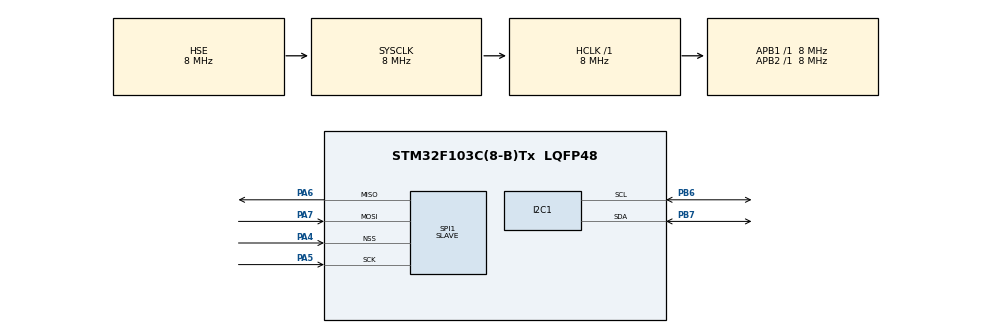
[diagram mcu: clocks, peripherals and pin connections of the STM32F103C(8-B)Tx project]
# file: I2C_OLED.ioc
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Mcu.Family=STM32F1
Mcu.Name=STM32F103C(8-B)Tx
Mcu.Package=LQFP48
NVIC.PriorityGroup=NVIC_PRIORITYGROUP_4
NVIC.SPI1_IRQn=true\:0\:0\:false\:false\:true\:true\:true\:true
PA13.Mode=Serial_Wire
PA13.Signal=SYS_JTMS-SWDIO
PA14.Mode=Serial_Wire
PA14.Signal=SYS_JTCK-SWCLK
PA4.Mode=NSS_Signal_Hard_Input
PA4.Signal=SPI1_NSS
PA5.Mode=Full_Duplex_Slave
PA5.Signal=SPI1_SCK
PA6.Mode=Full_Duplex_Slave
PA6.Signal=SPI1_MISO
PA7.Mode=Full_Duplex_Slave
PA7.Signal=SPI1_MOSI
PB6.Mode=I2C
PB6.Signal=I2C1_SCL
PB7.Mode=I2C
PB7.Signal=I2C1_SDA
PC14-OSC32_IN.Mode=LSE-External-Oscillator
PC14-OSC32_IN.Signal=RCC_OSC32_IN
PC15-OSC32_OUT.Mode=LSE-External-Oscillator
PC15-OSC32_OUT.Signal=RCC_OSC32_OUT
PD0-OSC_IN.Mode=HSE-External-Oscillator
PD0-OSC_IN.Signal=RCC_OSC_IN
PD1-OSC_OUT.Mode=HSE-External-Oscillator
PD1-OSC_OUT.Signal=RCC_OSC_OUT
ProjectManager.HeapSize=0x200
ProjectManager.StackSize=0x400
ProjectManager.TargetToolchain=MDK-ARM V5.32
RCC.AHBFreq_Value=8000000
RCC.APB1Freq_Value=8000000
RCC.APB1TimFreq_Value=8000000
RCC.APB2Freq_Value=8000000
RCC.APB2TimFreq_Value=8000000
RCC.HCLKFreq_Value=8000000
RCC.SYSCLKFreq_VALUE=8000000
RCC.SYSCLKSource=RCC_SYSCLKSOURCE_HSE
RCC.USBFreq_Value=8000000
SPI1.Direction=SPI_DIRECTION_2LINES
SPI1.Mode=SPI_MODE_SLAVE
SPI1.VirtualNSS=VM_NSSHARD
SPI1.VirtualType=VM_SLAVE
board=custom

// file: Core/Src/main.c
/* USER CODE BEGIN Header */
/**
  ******************************************************************************
  * @file           : main.c
  * @brief          : Main program body
  ******************************************************************************
  * @attention
  *
  * Copyright (c) 2023 STMicroelectronics.
  * All rights reserved.
  *
  * This software is licensed under terms that can be found in the LICENSE file
  * in the root directory of this software component.
  * If no LICENSE file comes with this software, it is provided AS-IS.
  *
  ******************************************************************************
  */
/* USER CODE END Header */
#include "main.h"
#include <string.h>
#define WIDTH 128
#define HEIGHT 64
#define WIRE_MAX 32
#define size_x 8
#define size_y 10
#define TW_START 0x08 // start
#define  TW_REP_START  0x10    // repeat start
#define  TW_MT_SLA_ACK 0x18   // truyen slave addr de ghi co ack
#define  TW_MT_SLA_NACK 0x20 //  truyen slave addr de ghi  ko co ack
#define  TW_MR_SLA_ACK 0x40   // truyen slave addr de doc co ack
#define  TW_MT_DATA_ACK 0x28 // gui dl co ack
#define  TW_MT_DATA_NACK 0x30  // nhan dl khong co ack
#define SSD1306_COLUMNADDR          0x21 ///< See datasheet
#define SSD1306_PAGEADDR            0x22        ///< See datasheet
#define BUFF_SIZE WIDTH*HEIGHT/8

#define addr_oled 0x78
#define MESS_SIZE 32

I2C_HandleTypeDef hi2c1;

SPI_HandleTypeDef hspi1;

void SystemClock_Config(void);
static void MX_GPIO_Init(void);
static void MX_I2C1_Init(void);
static void MX_SPI1_Init(void);
/* USER CODE BEGIN PFP */
unsigned char buffer[BUFF_SIZE]; //
unsigned char buff[3];
unsigned char buff1[WIRE_MAX];
// rong 128 dai 64
const uint8_t Fonts_10x7 [] = {
0x00, 0x00, 0x00, 0x00, 0x00, 0x00, 0x00, 0x00, 0x00, 0x00,  // sp
0x10, 0x10, 0x10, 0x10, 0x10, 0x10, 0x00, 0x10, 0x00, 0x00,  // !
0x28, 0x28, 0x28, 0x00, 0x00, 0x00, 0x00, 0x00, 0x00, 0x00,  // "
0x24, 0x24, 0x7C, 0x24, 0x48, 0x7C, 0x48, 0x48, 0x00, 0x00,  // #
0x38, 0x54, 0x50, 0x38, 0x14, 0x54, 0x54, 0x38, 0x10, 0x00,  // $
0x20, 0x54, 0x58, 0x30, 0x28, 0x54, 0x14, 0x08, 0x00, 0x00,  // %
0x10, 0x28, 0x28, 0x10, 0x34, 0x48, 0x48, 0x34, 0x00, 0x00,  // &
0x10, 0x10, 0x10, 0x00, 0x00, 0x00, 0x00, 0x00, 0x00, 0x00,  // '
0x08, 0x10, 0x20, 0x20, 0x20, 0x20, 0x20, 0x20, 0x10, 0x08,  // (
0x20, 0x10, 0x08, 0x08, 0x08, 0x08, 0x08, 0x08, 0x10, 0x20,  // )
0x10, 0x38, 0x10, 0x28, 0x00, 0x00, 0x00, 0x00, 0x00, 0x00,  // *
0x00, 0x00, 0x10, 0x10, 0x7C, 0x10, 0x10, 0x00, 0x00, 0x00,  // +
0x00, 0x00, 0x00, 0x00, 0x00, 0x00, 0x00, 0x10, 0x10, 0x10,  // ,
0x00, 0x00, 0x00, 0x00, 0x00, 0x38, 0x00, 0x00, 0x00, 0x00,  // -
0x00, 0x00, 0x00, 0x00, 0x00, 0x00, 0x00, 0x10, 0x00, 0x00,  // .
0x08, 0x08, 0x10, 0x10, 0x10, 0x10, 0x20, 0x20, 0x00, 0x00,  // /
0x38, 0x44, 0x44, 0x54, 0x44, 0x44, 0x44, 0x38, 0x00, 0x00,  // 0
0x10, 0x30, 0x50, 0x10, 0x10, 0x10, 0x10, 0x10, 0x00, 0x00,  // 1
0x38, 0x44, 0x44, 0x04, 0x08, 0x10, 0x20, 0x7C, 0x00, 0x00,  // 2
0x38, 0x44, 0x04, 0x18, 0x04, 0x04, 0x44, 0x38, 0x00, 0x00,  // 3
0x08, 0x18, 0x28, 0x28, 0x48, 0x7C, 0x08, 0x08, 0x00, 0x00,  // 4
0x7C, 0x40, 0x40, 0x78, 0x04, 0x04, 0x44, 0x38, 0x00, 0x00,  // 5
0x38, 0x44, 0x40, 0x78, 0x44, 0x44, 0x44, 0x38, 0x00, 0x00,  // 6
0x7C, 0x04, 0x08, 0x10, 0x10, 0x20, 0x20, 0x20, 0x00, 0x00,  // 7
0x38, 0x44, 0x44, 0x38, 0x44, 0x44, 0x44, 0x38, 0x00, 0x00,  // 8
0x38, 0x44, 0x44, 0x44, 0x3C, 0x04, 0x44, 0x38, 0x00, 0x00,  // 9
0x00, 0x00, 0x10, 0x00, 0x00, 0x00, 0x00, 0x10, 0x00, 0x00,  // :
0x00, 0x00, 0x00, 0x10, 0x00, 0x00, 0x00, 0x10, 0x10, 0x10,  // ;
0x00, 0x00, 0x0C, 0x30, 0x40, 0x30, 0x0C, 0x00, 0x00, 0x00,  // <
0x00, 0x00, 0x00, 0x7C, 0x00, 0x7C, 0x00, 0x00, 0x00, 0x00,  // =
0x00, 0x00, 0x60, 0x18, 0x04, 0x18, 0x60, 0x00, 0x00, 0x00,  // >
0x38, 0x44, 0x04, 0x08, 0x10, 0x10, 0x00, 0x10, 0x00, 0x00,  // ?
0x38, 0x44, 0x4C, 0x54, 0x5C, 0x40, 0x40, 0x38, 0x00, 0x00,  // @
0x10, 0x28, 0x28, 0x28, 0x28, 0x7C, 0x44, 0x44, 0x00, 0x00,  // A
0x78, 0x44, 0x44, 0x78, 0x44, 0x44, 0x44, 0x78, 0x00, 0x00,  // B
0x38, 0x44, 0x40, 0x40, 0x40, 0x40, 0x44, 0x38, 0x00, 0x00,  // C
0x70, 0x48, 0x44, 0x44, 0x44, 0x44, 0x48, 0x70, 0x00, 0x00,  // D
0x7C, 0x40, 0x40, 0x7C, 0x40, 0x40, 0x40, 0x7C, 0x00, 0x00,  // E
0x7C, 0x40, 0x40, 0x78, 0x40, 0x40, 0x40, 0x40, 0x00, 0x00,  // F
0x38, 0x44, 0x40, 0x40, 0x5C, 0x44, 0x44, 0x38, 0x00, 0x00,  // G
0x44, 0x44, 0x44, 0x7C, 0x44, 0x44, 0x44, 0x44, 0x00, 0x00,  // H
0x38, 0x10, 0x10, 0x10, 0x10, 0x10, 0x10, 0x38, 0x00, 0x00,  // I
0x04, 0x04, 0x04, 0x04, 0x04, 0x04, 0x44, 0x38, 0x00, 0x00,  // J
0x44, 0x48, 0x50, 0x60, 0x50, 0x48, 0x48, 0x44, 0x00, 0x00,  // K
0x40, 0x40, 0x40, 0x40, 0x40, 0x40, 0x40, 0x7C, 0x00, 0x00,  // L
0x44, 0x6C, 0x6C, 0x54, 0x44, 0x44, 0x44, 0x44, 0x00, 0x00,  // M
0x44, 0x64, 0x64, 0x54, 0x54, 0x4C, 0x4C, 0x44, 0x00, 0x00,  // N
0x38, 0x44, 0x44, 0x44, 0x44, 0x44, 0x44, 0x38, 0x00, 0x00,  // O
0x78, 0x44, 0x44, 0x44, 0x78, 0x40, 0x40, 0x40, 0x00, 0x00,  // P
0x38, 0x44, 0x44, 0x44, 0x44, 0x44, 0x54, 0x38, 0x04, 0x00,  // Q
0x78, 0x44, 0x44, 0x44, 0x78, 0x48, 0x48, 0x44, 0x00, 0x00,  // R
0x38, 0x44, 0x40, 0x30, 0x08, 0x04, 0x44, 0x38, 0x00, 0x00,  // S
0x7C, 0x10, 0x10, 0x10, 0x10, 0x10, 0x10, 0x10, 0x00, 0x00,  // T
0x44, 0x44, 0x44, 0x44, 0x44, 0x44, 0x44, 0x38, 0x00, 0x00,  // U
0x44, 0x44, 0x44, 0x28, 0x28, 0x28, 0x10, 0x10, 0x00, 0x00,  // V
0x44, 0x44, 0x54, 0x54, 0x54, 0x6C, 0x28, 0x28, 0x00, 0x00,  // W
0x44, 0x28, 0x28, 0x10, 0x10, 0x28, 0x28, 0x44, 0x00, 0x00,  // X
0x44, 0x44, 0x28, 0x28, 0x10, 0x10, 0x10, 0x10, 0x00, 0x00,  // Y
0x7C, 0x04, 0x08, 0x10, 0x10, 0x20, 0x40, 0x7C, 0x00, 0x00,  // Z
0x18, 0x10, 0x10, 0x10, 0x10, 0x10, 0x10, 0x10, 0x10, 0x18,  // [
0x20, 0x20, 0x10, 0x10, 0x10, 0x10, 0x08, 0x08, 0x00, 0x00,  /* \ */
0x30, 0x10, 0x10, 0x10, 0x10, 0x10, 0x10, 0x10, 0x10, 0x30,  // ]
0x10, 0x28, 0x28, 0x44, 0x00, 0x00, 0x00, 0x00, 0x00, 0x00,  // ^
0x00, 0x00, 0x00, 0x00, 0x00, 0x00, 0x00, 0x00, 0x00, 0xFE,  // _
0x20, 0x10, 0x00, 0x00, 0x00, 0x00, 0x00, 0x00, 0x00, 0x00,  // `
0x00, 0x00, 0x38, 0x44, 0x3C, 0x44, 0x4C, 0x34, 0x00, 0x00,  // a
0x40, 0x40, 0x58, 0x64, 0x44, 0x44, 0x64, 0x58, 0x00, 0x00,  // b
0x00, 0x00, 0x38, 0x44, 0x40, 0x40, 0x44, 0x38, 0x00, 0x00,  // c
0x04, 0x04, 0x34, 0x4C, 0x44, 0x44, 0x4C, 0x34, 0x00, 0x00,  // d
0x00, 0x00, 0x38, 0x44, 0x7C, 0x40, 0x44, 0x38, 0x00, 0x00,  // e
0x0C, 0x10, 0x7C, 0x10, 0x10, 0x10, 0x10, 0x10, 0x00, 0x00,  // f
0x00, 0x00, 0x34, 0x4C, 0x44, 0x44, 0x4C, 0x34, 0x04, 0x78,  // g
0x40, 0x40, 0x58, 0x64, 0x44, 0x44, 0x44, 0x44, 0x00, 0x00,  // h
0x10, 0x00, 0x70, 0x10, 0x10, 0x10, 0x10, 0x10, 0x00, 0x00,  // i
0x10, 0x00, 0x70, 0x10, 0x10, 0x10, 0x10, 0x10, 0x10, 0xE0,  // j
0x40, 0x40, 0x48, 0x50, 0x60, 0x50, 0x48, 0x44, 0x00, 0x00,  // k
0x70, 0x10, 0x10, 0x10, 0x10, 0x10, 0x10, 0x10, 0x00, 0x00,  // l
0x00, 0x00, 0x78, 0x54, 0x54, 0x54, 0x54, 0x54, 0x00, 0x00,  // m
0x00, 0x00, 0x58, 0x64, 0x44, 0x44, 0x44, 0x44, 0x00, 0x00,  // n
0x00, 0x00, 0x38, 0x44, 0x44, 0x44, 0x44, 0x38, 0x00, 0x00,  // o
0x00, 0x00, 0x58, 0x64, 0x44, 0x44, 0x64, 0x58, 0x40, 0x40,  // p
0x00, 0x00, 0x34, 0x4C, 0x44, 0x44, 0x4C, 0x34, 0x04, 0x04,  // q
0x00, 0x00, 0x58, 0x64, 0x40, 0x40, 0x40, 0x40, 0x00, 0x00,  // r
0x00, 0x00, 0x38, 0x44, 0x30, 0x08, 0x44, 0x38, 0x00, 0x00,  // s
0x20, 0x20, 0x78, 0x20, 0x20, 0x20, 0x20, 0x18, 0x00, 0x00,  // t
0x00, 0x00, 0x44, 0x44, 0x44, 0x44, 0x4C, 0x34, 0x00, 0x00,  // u
0x00, 0x00, 0x44, 0x44, 0x28, 0x28, 0x28, 0x10, 0x00, 0x00,  // v
0x00, 0x00, 0x54, 0x54, 0x54, 0x6C, 0x28, 0x28, 0x00, 0x00,  // w
0x00, 0x00, 0x44, 0x28, 0x10, 0x10, 0x28, 0x44, 0x00, 0x00,  // x
0x00, 0x00, 0x44, 0x44, 0x28, 0x28, 0x10, 0x10, 0x10, 0x60,  // y
0x00, 0x00, 0x7C, 0x08, 0x10, 0x20, 0x40, 0x7C, 0x00, 0x00,  // z
0x18, 0x10, 0x10, 0x10, 0x20, 0x20, 0x10, 0x10, 0x10, 0x18,  // {
0x10, 0x10, 0x10, 0x10, 0x10, 0x10, 0x10, 0x10, 0x10, 0x10,  // |
0x30, 0x10, 0x10, 0x10, 0x08, 0x08, 0x10, 0x10, 0x10, 0x30,  // }
0x00, 0x00, 0x00, 0x74, 0x4C, 0x00, 0x00, 0x00, 0x00, 0x00,  // ~
};

/* USER CODE END PFP */

/* USER CODE BEGIN 0 */

uint8_t logo_bmp[] =
{ 0x00,0x00,0x00,0x00,0x00,0x00,
  0x00,0x00,0x1f,0xff,0xff,0xf0,
  0x00,0x00,0x3f,0xff,0xff,0xf0,
  0x00,0x00,0x3f,0xff,0xff,0xf0,
  0x00,0x00,0x3f,0xff,0xff,0xf0,
  0x00,0x00,0x3e,0x6f,0xe4,0xf0,
  0x00,0x00,0x3e,0xa7,0x20,0xf0,
  0x00,0x40,0x3e,0x0b,0x21,0xf0,
  0x01,0xf0,0x3e,0x83,0x20,0xf0,
  0x00,0xe0,0x3e,0x53,0x64,0xf0,
  0x00,0xe0,0x3f,0xff,0xff,0xf0,
  0x00,0x00,0x3f,0xff,0xff,0xf0,
  0x00,0x00,0x3f,0xff,0xff,0xf0,
  0x00,0x00,0x3f,0xff,0xef,0xf0,
  0x00,0x00,0x3f,0xfc,0xff,0xf0,
  0x00,0x00,0x3f,0xff,0x5f,0xf0,
  0x00,0x00,0x3f,0xef,0xbf,0xf0,
  0x00,0x00,0x3f,0xff,0xbf,0xf0,
  0x00,0x00,0x3f,0x73,0xef,0xf0,
  0x00,0x00,0x3d,0xdb,0xff,0xf0,
  0x00,0x00,0x3b,0x7e,0xff,0xf0,
  0x00,0x00,0x0d,0xfd,0xff,0xf0,
  0x00,0x00,0x1b,0xef,0xff,0xf0,
  0x00,0x00,0x6f,0xfb,0xff,0xf0,
  0x00,0x00,0xbf,0xdf,0xff,0xf0,
  0x00,0x00,0x3f,0xff,0xff,0xf0,
  0x00,0x00,0x3f,0xaf,0xff,0xf0,
  0x00,0x00,0x3f,0xff,0xff,0xf0,
  0x00,0x00,0x3f,0x5f,0xff,0xf0,
  0x00,0x00,0x3f,0xbf,0xff,0xf0,
  0x00,0x00,0x3e,0xff,0xff,0xf0,
  0x00,0x00,0xef,0xef,0xff,0xf0,
  0x00,0x00,0xfc,0xff,0xff,0xf0,
  0x00,0x01,0x3f,0xff,0xff,0xf0,
  0x00,0x14,0x39,0xff,0xff,0xf0,
  0x00,0x18,0x3b,0xff,0xff,0xf0,
  0x00,0x30,0x37,0xff,0xff,0xf0,
  0x00,0x10,0x37,0xff,0xff,0xf0,
  0x00,0x00,0x2f,0xff,0xff,0xf0,
  0x00,0x00,0x0f,0xff,0xff,0xf0,
  0x00,0x00,0x1f,0xff,0xff,0xf0,
  0x00,0x00,0x3f,0xff,0xff,0xf0,
  0x00,0x10,0x3f,0xff,0xff,0xf0,
  0x00,0x30,0x3f,0xff,0xff,0xf0,
  0x00,0x38,0x3f,0xff,0xff,0xf0,
  0x00,0x18,0x3f,0xff,0xff,0xf0,
  0x00,0x00,0x3f,0xff,0xff,0xf0,
  0x00,0x01,0x3f,0xff,0xff,0xf0,
  0x00,0x00,0xef,0xff,0xff,0xf0,
  0x00,0x00,0xef,0xff,0xff,0xf0,
  0x00,0x00,0x3f,0xff,0xff,0xf0,
  0x00,0x00,0x3f,0xff,0xff,0xf0,
  0x00,0x00,0x3f,0xff,0xff,0xf0,
  0x00,0x00,0x1f,0xff,0xff,0xf0,
  0x3f,0xff,0xdf,0xff,0xff,0xf0,
  0x3f,0xdf,0xff,0xff,0xff,0xf0,
  0x3f,0xdf,0xff,0xff,0xff,0xf0,
  0x30,0x88,0x13,0x02,0x04,0x70,
  0x30,0x88,0x13,0x02,0x04,0x70,
  0x30,0x89,0x03,0x10,0x04,0x70,
  0x30,0x89,0x83,0x10,0x04,0x70,
  0x30,0x00,0x13,0x02,0x00,0x30,
  0x30,0x20,0x13,0x02,0x01,0x30,
  0x3b,0xac,0xb7,0xea,0xcf,0x70,
  0x3f,0xff,0xff,0xff,0xff,0xf0,
  0x3f,0xff,0xff,0xff,0xff,0xf0,
  0x00,0x00,0x00,0x00,0x00,0x00,

};

void initBuff(){
     memset(buffer,0,BUFF_SIZE);
	 memset(buff,0,3);
	 memset(buff1,0,WIRE_MAX);
}

void write_cmd1(uint8_t c ){
	memset(buff,0,3);
	  buff[0]= 0x00;
	  buff[1] = c;
    HAL_I2C_Master_Transmit(&hi2c1,addr_oled,buff,2,100 );
}

void cmd_list(unsigned char*c, int n){

      unsigned char  bytesOut = 1;
     	memset(buff1,0,WIRE_MAX);

       while(n--) {
        if(bytesOut >= WIRE_MAX) {
					HAL_I2C_Master_Transmit(&hi2c1,addr_oled,buff1,WIRE_MAX,1000 );
         	memset(buff1,0,WIRE_MAX);
          bytesOut = 1;
        }
      buff1[bytesOut] = *c++;
      bytesOut++;
    }
     if(bytesOut>0){
			 HAL_I2C_Master_Transmit(&hi2c1,addr_oled,buff1,bytesOut,1000 );
		 }
}

void initDisplay()
{
    write_cmd1(0xAE);          // 0xAE // display off
    write_cmd1(0xD5);          // 0xD5 // set display clock division
    write_cmd1(0x80);          // the suggested ratio 0x80
    write_cmd1(0xA8);          // 0xA8 set multiplex
    write_cmd1(63);            // set height
    write_cmd1(0xD3);          // set display offset
    write_cmd1(0x00);           // no offset
    write_cmd1(0x40);            // line #0 setstartline
    write_cmd1(0x8D);          // 0x8D // chargepump
    write_cmd1(0x14);          //?? 0x10
    write_cmd1(0x20);          // memory mode
    write_cmd1(0x00);          // 0x0 act like ks0108
    write_cmd1(0xA1);           // segremap
    write_cmd1(0xC8);          // comscandec
    write_cmd1(0xDA);          // 0xDA set com pins
    write_cmd1(0x12);
    write_cmd1(0x81);          // 0x81 // set contract
    write_cmd1(0xCF);          //??  0x9F
    write_cmd1(0xD9);          // 0xd9 set pre-charge
    write_cmd1(0xF1);         //0x22
    write_cmd1(0xDB);          // SSD1306_SETVCOMDETECT
    write_cmd1(0x40);
    write_cmd1(0xA4);          // 0xA4 // display all on resume
    write_cmd1(0xA6);          // 0xA6 // normal display
    write_cmd1(0x2E);          // deactivate scroll
    write_cmd1(0xAF);          // --turn on oled panel
}

void display()
{

	  int  count = WIDTH * (HEIGHT / 8);
    uint8_t *ptr   = buffer;
    unsigned char bytesOut = 1;
	  unsigned char dlist1[] = {
     SSD1306_PAGEADDR,
     0,                         // Page start address
     0xFF,                      // Page end (not really, but works here)
     SSD1306_COLUMNADDR,
     0 };
	// Column start address
	  cmd_list(dlist1, sizeof(dlist1));
	  write_cmd1(WIDTH - 1);
		memset(buff1,0,WIRE_MAX);
		buff1[0] = 0x40;
		while(count--) {
      if(bytesOut >= WIRE_MAX) {
				HAL_I2C_Master_Transmit(&hi2c1,addr_oled,buff1,WIRE_MAX,1000 );
				memset(buff1,0,WIRE_MAX);
				 buff1[0] = 0x40;
        bytesOut = 1;
      }
			 buff1[bytesOut] =*ptr++ ;
       bytesOut++;
    }
		 if(bytesOut>0){
			 	HAL_I2C_Master_Transmit(&hi2c1,addr_oled,buff1,bytesOut,1000 );
		 }
}

void clear(){
   memset(buffer,0,BUFF_SIZE);
    display();
}

void drawpixel(int x, int y ){// draw hang y cot x

  if((x >= 0) && (x <WIDTH) && (y >= 0) && (y < HEIGHT)) {
    buffer[x + (y/8)*WIDTH] |=  (1 << (y&7)); //
   }
}

void drawBitmap(int x, int y, unsigned char bitmap[], int w, int  h) {

   int i, j;
   int byteWidth= (w+7)/8;
   int  byte = 0;
  for ( j = 0; j < h; j++) {
    for ( i = 0; i < w; i++) {

          if (i & 7)// 8 bit 1
          byte <<= 1;
          else
          byte = bitmap[j * byteWidth + i / 8];
         if(byte & 0x80){
            drawpixel(x + i,y+j);
         }
    }
  }
}

void drawImage(unsigned char bitmap[],int  LOGO_HEIGHT,int  LOGO_WIDTH){

    drawBitmap(
    (WIDTH  - LOGO_WIDTH ) / 2,
    (HEIGHT - LOGO_HEIGHT) / 2,
    bitmap, LOGO_WIDTH, LOGO_HEIGHT);
}

void drawChar(int16_t x, int16_t y, unsigned char c) {

    if ((x >= WIDTH) || x<0||             // Clip right
        (y >= HEIGHT) ||     y<0||        // Clip bottom
        ((x +  size_x - WIDTH- 1) > 0) ||   // Clip left
        ((y +  size_y - HEIGHT- 1) > 0)  ||  // Clip top
		     c<32   || c>126)            // not character
      return;
    int16_t t  = (c-32)*10;
    for (int8_t i = 0; i < 10; i++) {
      int8_t cha = Fonts_10x7[i+t];
      for (int8_t j = 0; j < 8; j++) {
        if(cha&0x80){
					drawpixel(x+j,y+i);
				}
				cha<<=1;
        //  0x1000
    }
   }
}

void drawChars(uint8_t *x, uint8_t *y,char mess){
     //   char c ;
//        if (*x<0||  (*x >= WIDTH))  {*x =0; clear(); }
//        if( *y>=HEIGHT) {*y =0; clear(); }
        if(*x +  size_x >= WIDTH){
           if((*y +  size_y >= HEIGHT)){
              *x=0;
             *y=0;
             clear();
           }
           else{
              *y+= size_y;
              *x =0;
           }
        }
         drawChar( *x,  *y,   mess);
        *x+=size_x;
}

/* USER CODE END 0 */

unsigned char rxData[MESS_SIZE];
uint8_t tx;
uint8_t rx;
uint8_t in=0;
uint8_t curx;
uint8_t cury;
volatile uint8_t cnt =0;
volatile uint8_t clr =0;
volatile  uint8_t flag = 0;
void clean(){
  clear();
  memset(rxData,0,MESS_SIZE);
  curx = cury =0;
  cnt =0;
  in =0;
}

void HAL_SPI_RxCpltCallback(SPI_HandleTypeDef *hspi)
{
  if(tx =='*')clr =1;
  else
    rxData[cnt++] = tx;

   // HAL_UART_Transmit(&huart1, &tx, 1,200);
    if(cnt>=MESS_SIZE){
      cnt =0;
    }
  HAL_SPI_Receive_IT(&hspi1,&rx,1);
    flag = 1;
}
int main(void)
{

  /* MCU Configuration--------------------------------------------------------*/

  /* Reset of all peripherals, Initializes the Flash interface and the Systick. */
  HAL_Init();

  /* Configure the system clock */
  SystemClock_Config();

  /* Initialize all configured peripherals */
  MX_GPIO_Init();
  MX_I2C1_Init();
  MX_SPI1_Init();
  /* USER CODE BEGIN 2 */
HAL_SPI_Receive_IT(&hspi1,&rx,1);
  /* USER CODE END 2 */
initBuff();
  initDisplay();
  drawImage(logo_bmp,67,45);
  display();
  /* Infinite loop */
  while (1)
  {
if(flag ==1){
 if(clr){ clean();
 clr =0;
 }
  HAL_GPIO_TogglePin(GPIOC, GPIO_PIN_13);
	//drawChar(5,5,rx);
  while(in!=cnt){
  drawChars(&curx,&cury,rxData[in]);

  in++;
  if(in>=MESS_SIZE) in =0;
    display();
  }
  flag =0;
}
  }
}

void SystemClock_Config(void)
{
  RCC_OscInitTypeDef RCC_OscInitStruct = {0};
  RCC_ClkInitTypeDef RCC_ClkInitStruct = {0};

  /** Initializes the RCC Oscillators according to the specified parameters
  * in the RCC_OscInitTypeDef structure.
  */
  RCC_OscInitStruct.OscillatorType = RCC_OSCILLATORTYPE_HSE;
  RCC_OscInitStruct.HSEState = RCC_HSE_ON;
  RCC_OscInitStruct.PLL.PLLState = RCC_PLL_NONE;
  if (HAL_RCC_OscConfig(&RCC_OscInitStruct) != HAL_OK)
  {
    Error_Handler();
  }

  /** Initializes the CPU, AHB and APB buses clocks
  */
  RCC_ClkInitStruct.ClockType = RCC_CLOCKTYPE_HCLK|RCC_CLOCKTYPE_SYSCLK
                              |RCC_CLOCKTYPE_PCLK1|RCC_CLOCKTYPE_PCLK2;
  RCC_ClkInitStruct.SYSCLKSource = RCC_SYSCLKSOURCE_HSE;
  RCC_ClkInitStruct.AHBCLKDivider = RCC_SYSCLK_DIV1;
  RCC_ClkInitStruct.APB1CLKDivider = RCC_HCLK_DIV1;
  RCC_ClkInitStruct.APB2CLKDivider = RCC_HCLK_DIV1;

  if (HAL_RCC_ClockConfig(&RCC_ClkInitStruct, FLASH_LATENCY_0) != HAL_OK)
  {
    Error_Handler();
  }
}

static void MX_I2C1_Init(void)
{

  hi2c1.Instance = I2C1;
  hi2c1.Init.ClockSpeed = 100000;
  hi2c1.Init.DutyCycle = I2C_DUTYCYCLE_2;
  hi2c1.Init.OwnAddress1 = 0;
  hi2c1.Init.AddressingMode = I2C_ADDRESSINGMODE_7BIT;
  hi2c1.Init.DualAddressMode = I2C_DUALADDRESS_DISABLE;
  hi2c1.Init.OwnAddress2 = 0;
  hi2c1.Init.GeneralCallMode = I2C_GENERALCALL_DISABLE;
  hi2c1.Init.NoStretchMode = I2C_NOSTRETCH_DISABLE;
  if (HAL_I2C_Init(&hi2c1) != HAL_OK)
  {
    Error_Handler();
  }

}

static void MX_SPI1_Init(void)
{

  /* SPI1 parameter configuration*/
  hspi1.Instance = SPI1;
  hspi1.Init.Mode = SPI_MODE_SLAVE;
  hspi1.Init.Direction = SPI_DIRECTION_2LINES;
  hspi1.Init.DataSize = SPI_DATASIZE_8BIT;
  hspi1.Init.CLKPolarity = SPI_POLARITY_LOW;
  hspi1.Init.CLKPhase = SPI_PHASE_1EDGE;
  hspi1.Init.NSS = SPI_NSS_HARD_INPUT;
  hspi1.Init.FirstBit = SPI_FIRSTBIT_MSB;
  hspi1.Init.TIMode = SPI_TIMODE_DISABLE;
  hspi1.Init.CRCCalculation = SPI_CRCCALCULATION_DISABLE;
  hspi1.Init.CRCPolynomial = 10;
  if (HAL_SPI_Init(&hspi1) != HAL_OK)
  {
    Error_Handler();
  }

}

static void MX_GPIO_Init(void)
{

  /* GPIO Ports Clock Enable */
  __HAL_RCC_GPIOC_CLK_ENABLE();
  __HAL_RCC_GPIOD_CLK_ENABLE();
  __HAL_RCC_GPIOA_CLK_ENABLE();
  __HAL_RCC_GPIOB_CLK_ENABLE();

}

void Error_Handler(void)
{
  __disable_irq();
  while (1)
  {
  }
}
